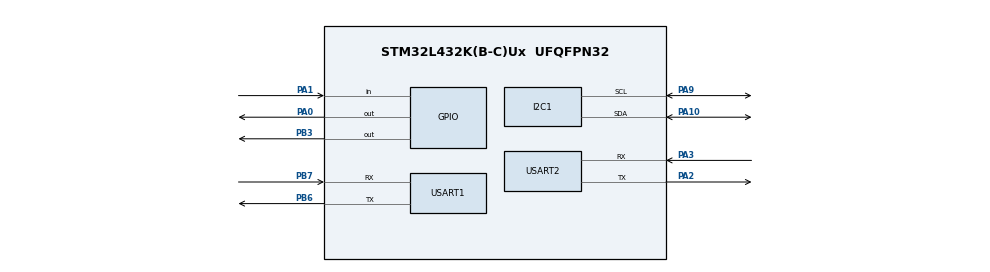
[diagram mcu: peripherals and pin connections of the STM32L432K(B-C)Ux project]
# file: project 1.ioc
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Mcu.Family=STM32L4
Mcu.Name=STM32L432K(B-C)Ux
Mcu.Package=UFQFPN32
NVIC.PriorityGroup=NVIC_PRIORITYGROUP_4
NVIC.USART1_IRQn=true\:0\:0\:false\:false\:true\:true\:true
PA0.Signal=GPIO_Output
PA1.Signal=GPIO_Input
PA10.Mode=I2C
PA10.Signal=I2C1_SDA
PA13\ (JTMS-SWDIO).Mode=Serial_Wire
PA13\ (JTMS-SWDIO).Signal=SYS_JTMS-SWDIO
PA14\ (JTCK-SWCLK).Mode=Serial_Wire
PA14\ (JTCK-SWCLK).Signal=SYS_JTCK-SWCLK
PA2.Mode=Asynchronous
PA2.Signal=USART2_TX
PA3.Mode=Asynchronous
PA3.Signal=USART2_RX
PA9.Mode=I2C
PA9.Signal=I2C1_SCL
PB3\ (JTDO-TRACESWO).Signal=GPIO_Output
PB6.Mode=Asynchronous
PB6.Signal=USART1_TX
PB7.Mode=Asynchronous
PB7.Signal=USART1_RX
ProjectManager.HeapSize=0x200
ProjectManager.StackSize=0x400
ProjectManager.TargetToolchain=MDK-ARM V5.27
RCC.HSE_VALUE=8000000
RCC.HSI48_VALUE=48000000
RCC.HSI_VALUE=16000000
RCC.LSE_VALUE=32768
RCC.MSI_VALUE=4000000
RCC.VCOOutputFreq_Value=32000000
USART1.VirtualMode-Asynchronous=VM_ASYNC
USART2.VirtualMode-Asynchronous=VM_ASYNC
board=custom

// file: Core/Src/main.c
/* USER CODE BEGIN Header */
/**
  ******************************************************************************
  * @file           : main.c
  * @brief          : Main program body
  ******************************************************************************
  * @attention
  *
  * <h2><center>&copy; Copyright (c) 2021 STMicroelectronics.
  * All rights reserved.</center></h2>
  *
  * This software component is licensed by ST under BSD 3-Clause license,
  * the "License"; You may not use this file except in compliance with the
  * License. You may obtain a copy of the License at:
  *                        opensource.org/licenses/BSD-3-Clause
  *
  ******************************************************************************
  */
/* USER CODE END Header */
#include "main.h"

/* USER CODE BEGIN Includes */
#include <stdlib.h>
#include <assert.h>
#include "../../scheduler.h"
/* USER CODE END Includes */

/* USER CODE BEGIN PD */
#define INTERNAL 0
#define DEMO1 1
#define DEMO2 2
#define TASK_SET DEMO1
//#define DEBUG
/* USER CODE END PD */

I2C_HandleTypeDef hi2c1;

UART_HandleTypeDef huart1;
UART_HandleTypeDef huart2;

void SystemClock_Config(void);
static void MX_GPIO_Init(void);
static void MX_USART2_UART_Init(void);
static void MX_I2C1_Init(void);
static void MX_USART1_UART_Init(void);
/* USER CODE BEGIN PFP */
void wrap_around(int *x,int wrap_val);
struct task* get_tail(struct queue *que);
struct task* get_head(struct queue *que);
struct task* que_pop(struct queue *que);
struct task* que_pop_back(struct queue *que);
void swap_task(struct task **a, struct task **b);
void queue_push_back(struct queue *que, struct task *new_task);
uint8_t eq_tasks(struct task *a, struct task *b);
void init_que(struct queue *que);

void QueTask(void (*func_in)(void), uint16_t priority_in);
void ReRunMe(unsigned int delay_in);
void Deque(void);
void init(void);
/* USER CODE END PFP */

/* USER CODE BEGIN 0 */

// TODO propper boudary and error checking when queue overflows

//// Queue variable declarations

struct queue rdy_que, delay_que;
struct task *cur_task;

struct task* get_tail(struct queue *que) {
	int tmp = que->tail - 1;
	wrap_around(&tmp, que->max);
	return que->que[tmp];
}

struct task* get_head(struct queue *que) {
	return que->que[que->head];
}

void wrap_around(int *x, int wrap_val) { // boiler plate to make queue circular
	if (*x < 0) {
		*x = wrap_val - 1;
	} else if (*x == wrap_val) {
		*x = 0;
	}
}

struct task* queue_pop(struct queue *que) { // pop front of queue and return it
	struct task *ret = que->que[que->head++];
	ret->ref_count--;
	wrap_around(&(que->head), que->max);
	que->len--;
	return ret;
}

struct task* que_pop_back(struct queue *que) { // pop back of queueu and return it
	struct task *ret = que->que[que->tail--];
	ret->ref_count--;
	wrap_around(&(que->head), que->max);
	que->len--;
	return ret;
}

void swap_task(struct task **a, struct task **b) {
	struct task *temp = *a;
	*a = *b;
	*b = temp;
}

void queue_push_back(struct queue *que, struct task *new_task) {
	new_task->ref_count++;
	que->que[que->tail] = new_task;
	que->len++;
	//if (que->tail == que->head) return; // Queue overflow. should never reach this state.
	int i, ii;
	for (i = que->tail; i != que->head; --i) {
		wrap_around(&i, que->max);
		ii = i - 1;
		wrap_around(&ii, que->max);
		if (que->que[i]->prio < que->que[ii]->prio) {
			swap_task(&que->que[i], &que->que[ii]);
		} else {
			break;
		}
	}
	que->tail++;
	wrap_around(&que->tail, que->max);
}

void QueTask(void (*func_in)(void), uint16_t priority_in) {
	struct task *new_task = malloc(sizeof(struct task));
	new_task->func = func_in;
	new_task->prio = priority_in;
	new_task->ref_prio = priority_in;
	new_task->ref_count = 0;
	queue_push_back(&rdy_que, new_task);
}

void ReRunMe(unsigned int delay_in) {
	if (delay_in ==  0) {
		cur_task->prio = cur_task->ref_prio;
		queue_push_back(&rdy_que, cur_task);
	} else {
		cur_task->prio = delay_in;
		queue_push_back(&delay_que, cur_task);
	}
}

void Dispatch() {
	if (rdy_que.len > 0) {
		cur_task = queue_pop(&rdy_que);
		cur_task->func();
		if (cur_task->ref_count == 0) {
			free(cur_task);
		}
	}
}

void init_que(struct queue *que) {
	que->head = 0;
	que->tail = 0;
	que->max = MAX_N_TASKS;
	que->len = 0;
}

void init() {
	init_que(&rdy_que);
	init_que(&delay_que);
	HAL_SYSTICK_Config(SystemCoreClock/20);
}

uint8_t eq_tasks(struct task *a, struct task *b) {
	uint8_t ret = 0xFF;
	ret &= a->prio == b->prio;
	ret &= a->ref_prio == b->ref_prio;
	ret &= a->func == b->func;
	ret &= a->ref_count == b->ref_count;
	return ret;
}

//// TASKS FOR INTERNAL TESTING ////

void tgl_led() {
	HAL_GPIO_TogglePin(GPIOB, GPIO_PIN_3);
}

void led_off() {
	HAL_GPIO_WritePin(GPIOB, GPIO_PIN_3, GPIO_PIN_RESET);
}

void taskA() {
	HAL_GPIO_TogglePin(GPIOB, GPIO_PIN_3);
	ReRunMe(10);
}

int taskb_cnt = 0;
void taskB() {
	uint8_t buf[10] = {'0','0','0','0','0','0','0','0','0','0'};
	int temp = taskb_cnt;
	int i;
	for (i = 9; temp > 0 && i >= 0; i--) {
		buf[i] = temp%10+'0';
		temp /= 10;
	}
	HAL_UART_Transmit(&huart2, buf, sizeof(buf), HAL_MAX_DELAY);
	HAL_UART_Transmit(&huart2, (uint8_t*)"\n\r", 3, HAL_MAX_DELAY);
	taskb_cnt++;
	ReRunMe(6);
}

void unit_tests() {

	int unit_int = -1;
	wrap_around(&unit_int, MAX_N_TASKS);
	assert(unit_int == MAX_N_TASKS-1);
	unit_int = MAX_N_TASKS;
	wrap_around(&unit_int, MAX_N_TASKS);
	assert(unit_int == 0);

	struct queue unit_que;
	init_que(&unit_que);
	assert(unit_que.head == 0);
	assert(unit_que.tail == 0);
	assert(unit_que.max == MAX_N_TASKS);
	assert(unit_que.len == 0);

	struct task unit_task;
	unit_task.prio = 1;
	unit_task.ref_prio = 1;
	unit_task.func = tgl_led;
	unit_task.ref_count = 1;

	assert(eq_tasks(&unit_task, &unit_task));

	queue_push_back(&unit_que, &unit_task);
	assert(eq_tasks(&unit_task, get_tail(&unit_que)));
	assert(eq_tasks(&unit_task, get_head(&unit_que)));

	assert(eq_tasks(&unit_task, queue_pop(&unit_que)));

	struct task unit_task2;
	unit_task2 = unit_task;
	unit_task2.ref_prio = 2;
	struct task *swap_task1 = malloc(sizeof(struct task)), *swap_task2 = malloc(sizeof(struct task));
	*swap_task1 = unit_task;
	*swap_task2 = unit_task2;

	swap_task(&swap_task1, &swap_task2);

	assert(eq_tasks(&unit_task, swap_task2));
	assert(eq_tasks(&unit_task2, swap_task1));

	QueTask(tgl_led, 1);
	assert(eq_tasks(&unit_task, get_tail(&rdy_que)));
	assert(eq_tasks(&unit_task, get_head(&rdy_que)));
	QueTask(led_off, 2);
	assert(eq_tasks(&unit_task, get_head(&rdy_que)));
	unit_task.prio = 2;
	unit_task.ref_prio = 2;
	unit_task.func = led_off;
	unit_task.ref_count = 1;
	assert(eq_tasks(&unit_task, get_head(&rdy_que)));
	queue_pop(&rdy_que);
	assert(eq_tasks(&unit_task, queue_pop(&rdy_que)));

}

////////////////////////////////////

//// DEMO 1 (temperature sensor) TASKS ////

// here temperature will be compared by a single number and the 2 fraction bits are the 2 LSB so it would be 8 bits integer then 2 bits fraction in a single integer variable. for example integer of 0b1 and fraction of 0b01 would result in a value of 0b101
uint8_t thresh = 0;
int16_t cur_temp = 0;
void read_temp() {
	uint8_t buf[7] = {0,0,'.',0,0,'\n','\r'};
	uint8_t tmp;
	HAL_I2C_Master_Transmit(&hi2c1, 0xD0, (uint8_t[]){0x0E, 0x3C}, 2, 10); // refresh temperature
	HAL_I2C_Master_Transmit(&hi2c1, 0xD0, (uint8_t[]){0x11}, 1, 10); // request current temperature
	HAL_I2C_Master_Receive(&hi2c1, 0xD1, &tmp, 1, 10); // read current temperature
	cur_temp = tmp << 2;
	HAL_I2C_Master_Transmit(&hi2c1, 0xD0, (uint8_t[]){0x12}, 1, 10); // request current temperature fraction
	HAL_I2C_Master_Receive(&hi2c1, 0xD1, &tmp, 1, 10); // read current temperature fraction
	cur_temp |= tmp >> 6;

	#ifdef DEBUG // Print read temperature
	tmp = cur_temp;
	int16_t debug;
	debug = tmp >> 2;
	buf[0] = debug/10 + '0';
	buf[1] = debug%10 + '0';
	debug = tmp & 0x3;
	buf[3] = (debug*25)/10 + '0';
	buf[4] = (debug*25)%10 + '0';
	HAL_UART_Transmit(&huart2, buf, sizeof(buf), HAL_MAX_DELAY);
	#endif

	ReRunMe(600);
}

void trig_alarm() {
	if (cur_temp > thresh) {
		HAL_GPIO_TogglePin(GPIOB, GPIO_PIN_3);
	} else {
		HAL_GPIO_WritePin(GPIOB, GPIO_PIN_3, GPIO_PIN_RESET);
	}
	ReRunMe(5);
}

uint8_t temp_buf [8];
int temp_loc = 0;
void set_temp_thresh() {
	HAL_UART_Receive(&huart1, temp_buf+temp_loc, 1, 10); // process newest character
	HAL_UART_Transmit(&huart1, temp_buf+temp_loc, 1, 10); // send it back so that there is feedback on the serial terminal
	__HAL_UART_ENABLE_IT(&huart1, UART_IT_RXNE); // enable interrupts again so we can process the next character
	if (temp_buf[temp_loc] == 0x0D) {
		__HAL_UART_DISABLE_IT(&huart1, UART_IT_RXNE); // disable interrupt so UART functions are not broken from an interrupt
		HAL_UART_Transmit(&huart1, (uint8_t*)"\n\r", 3, 10); // print new line so its more legible
		__HAL_UART_ENABLE_IT(&huart1, UART_IT_RXNE); // enable interrupts again
		int tmp = 0;
		int sig = 1;
		temp_loc--;
		while (temp_buf[temp_loc] != '.') { // read fraction
			tmp += sig * (temp_buf[temp_loc--] - '0');
			sig *= 10;
		}
		thresh = tmp/25; // reduce fraction to the percision of the temperature sensor
		tmp = 0;
		sig = 1;
		temp_loc--; // skip decimal point
		while (temp_loc >= 0) { // read integer
			tmp += sig * (temp_buf[temp_loc--] - '0');
			sig *= 10;
		}
		thresh |= tmp << 2; // shift to left to leave the 2 fraction bits undisturbed
		temp_loc = 0;
	} else {
		temp_loc++;
	}
}

///////////////////////////////////////////////////////////

//// DEMO 2 (distance) TASKS ////

int dist = 0;
void read_dist() {
	HAL_GPIO_WritePin(GPIOA, GPIO_PIN_0, GPIO_PIN_SET);
	HAL_Delay(10);
	HAL_GPIO_WritePin(GPIOA, GPIO_PIN_0, GPIO_PIN_RESET);
	int time = 0;
	while (HAL_GPIO_ReadPin(GPIOA, GPIO_PIN_1) == GPIO_PIN_RESET) {}
	while (HAL_GPIO_ReadPin(GPIOA, GPIO_PIN_1) == GPIO_PIN_SET) { time++; }
	dist = time/100 * SystemCoreClock/4000000;

	#ifdef DEBUG
	char buf[10] = {0,0,0,0,0,0,0,0,0,0};
	int i;
	for (i = 9; time > 0 && i > 0; i--) {
		buf[i] = time%10 + '0';
		time /= 10;
	}
	HAL_UART_Transmit(&huart2, (uint8_t*)buf, 10, HAL_MAX_DELAY);
	HAL_UART_Transmit(&huart2, "\n\r", 3, HAL_MAX_DELAY);
	#endif

	ReRunMe(5);
}

void beep() {
	HAL_GPIO_WritePin(GPIOB, GPIO_PIN_3, GPIO_PIN_SET);
	HAL_Delay(1);
	HAL_GPIO_WritePin(GPIOB, GPIO_PIN_3, GPIO_PIN_RESET);
	if (dist <= 0) {
		dist = 1;
	} else if (dist >= 20) {
		dist = 20;
	}
	ReRunMe(dist);
}

///////////////////////////////////////////////////////////

/* USER CODE END 0 */

int main(void)
{

  /* MCU Configuration--------------------------------------------------------*/

  /* Reset of all peripherals, Initializes the Flash interface and the Systick. */
  HAL_Init();

  /* Configure the system clock */
  SystemClock_Config();

  /* Initialize all configured peripherals */
  MX_GPIO_Init();
  MX_USART2_UART_Init();
  MX_I2C1_Init();
  MX_USART1_UART_Init();
  /* USER CODE BEGIN 2 */
	init();
  /* USER CODE END 2 */

  /* Infinite loop */
  /* USER CODE BEGIN WHILE */
	#ifdef DEBUG
	HAL_UART_Transmit(&huart2, (uint8_t*)"Unit tests start\n\r", 19, HAL_MAX_DELAY);
	unit_tests();
	HAL_UART_Transmit(&huart2, (uint8_t*)"Unit tests complete\n\r", 22, HAL_MAX_DELAY);
	#endif

	#if TASK_SET == INTERNAL
	QueTask(taskA, 1);
	QueTask(taskB, 4);
	#elif TASK_SET == DEMO1
	__HAL_UART_ENABLE_IT(&huart1, UART_IT_RXNE);
	QueTask(read_temp, 2);
	QueTask(trig_alarm, 3);
	#elif TASK_SET == DEMO2
	QueTask(read_dist, 1);
	QueTask(beep, 2);
	#endif

  while (1)
  {
		Dispatch();
    /* USER CODE END WHILE */

  }
}

void SystemClock_Config(void)
{
  RCC_OscInitTypeDef RCC_OscInitStruct = {0};
  RCC_ClkInitTypeDef RCC_ClkInitStruct = {0};
  RCC_PeriphCLKInitTypeDef PeriphClkInit = {0};

  /** Initializes the RCC Oscillators according to the specified parameters
  * in the RCC_OscInitTypeDef structure.
  */
  RCC_OscInitStruct.OscillatorType = RCC_OSCILLATORTYPE_MSI;
  RCC_OscInitStruct.MSIState = RCC_MSI_ON;
  RCC_OscInitStruct.MSICalibrationValue = 0;
  RCC_OscInitStruct.MSIClockRange = RCC_MSIRANGE_6;
  RCC_OscInitStruct.PLL.PLLState = RCC_PLL_NONE;
  if (HAL_RCC_OscConfig(&RCC_OscInitStruct) != HAL_OK)
  {
    Error_Handler();
  }
  /** Initializes the CPU, AHB and APB buses clocks
  */
  RCC_ClkInitStruct.ClockType = RCC_CLOCKTYPE_HCLK|RCC_CLOCKTYPE_SYSCLK
                              |RCC_CLOCKTYPE_PCLK1|RCC_CLOCKTYPE_PCLK2;
  RCC_ClkInitStruct.SYSCLKSource = RCC_SYSCLKSOURCE_MSI;
  RCC_ClkInitStruct.AHBCLKDivider = RCC_SYSCLK_DIV1;
  RCC_ClkInitStruct.APB1CLKDivider = RCC_HCLK_DIV1;
  RCC_ClkInitStruct.APB2CLKDivider = RCC_HCLK_DIV1;

  if (HAL_RCC_ClockConfig(&RCC_ClkInitStruct, FLASH_LATENCY_0) != HAL_OK)
  {
    Error_Handler();
  }
  PeriphClkInit.PeriphClockSelection = RCC_PERIPHCLK_USART1|RCC_PERIPHCLK_USART2
                              |RCC_PERIPHCLK_I2C1;
  PeriphClkInit.Usart1ClockSelection = RCC_USART1CLKSOURCE_PCLK2;
  PeriphClkInit.Usart2ClockSelection = RCC_USART2CLKSOURCE_PCLK1;
  PeriphClkInit.I2c1ClockSelection = RCC_I2C1CLKSOURCE_PCLK1;
  if (HAL_RCCEx_PeriphCLKConfig(&PeriphClkInit) != HAL_OK)
  {
    Error_Handler();
  }
  /** Configure the main internal regulator output voltage
  */
  if (HAL_PWREx_ControlVoltageScaling(PWR_REGULATOR_VOLTAGE_SCALE1) != HAL_OK)
  {
    Error_Handler();
  }
}

static void MX_I2C1_Init(void)
{

  hi2c1.Instance = I2C1;
  hi2c1.Init.Timing = 0x00000E14;
  hi2c1.Init.OwnAddress1 = 0;
  hi2c1.Init.AddressingMode = I2C_ADDRESSINGMODE_7BIT;
  hi2c1.Init.DualAddressMode = I2C_DUALADDRESS_DISABLE;
  hi2c1.Init.OwnAddress2 = 0;
  hi2c1.Init.OwnAddress2Masks = I2C_OA2_NOMASK;
  hi2c1.Init.GeneralCallMode = I2C_GENERALCALL_DISABLE;
  hi2c1.Init.NoStretchMode = I2C_NOSTRETCH_DISABLE;
  if (HAL_I2C_Init(&hi2c1) != HAL_OK)
  {
    Error_Handler();
  }
  /** Configure Analogue filter
  */
  if (HAL_I2CEx_ConfigAnalogFilter(&hi2c1, I2C_ANALOGFILTER_ENABLE) != HAL_OK)
  {
    Error_Handler();
  }
  /** Configure Digital filter
  */
  if (HAL_I2CEx_ConfigDigitalFilter(&hi2c1, 0) != HAL_OK)
  {
    Error_Handler();
  }

}

static void MX_USART1_UART_Init(void)
{

  huart1.Instance = USART1;
  huart1.Init.BaudRate = 115200;
  huart1.Init.WordLength = UART_WORDLENGTH_8B;
  huart1.Init.StopBits = UART_STOPBITS_1;
  huart1.Init.Parity = UART_PARITY_NONE;
  huart1.Init.Mode = UART_MODE_TX_RX;
  huart1.Init.HwFlowCtl = UART_HWCONTROL_NONE;
  huart1.Init.OverSampling = UART_OVERSAMPLING_16;
  huart1.Init.OneBitSampling = UART_ONE_BIT_SAMPLE_DISABLE;
  huart1.AdvancedInit.AdvFeatureInit = UART_ADVFEATURE_NO_INIT;
  if (HAL_UART_Init(&huart1) != HAL_OK)
  {
    Error_Handler();
  }

}

static void MX_USART2_UART_Init(void)
{

  huart2.Instance = USART2;
  huart2.Init.BaudRate = 115200;
  huart2.Init.WordLength = UART_WORDLENGTH_8B;
  huart2.Init.StopBits = UART_STOPBITS_1;
  huart2.Init.Parity = UART_PARITY_NONE;
  huart2.Init.Mode = UART_MODE_TX_RX;
  huart2.Init.HwFlowCtl = UART_HWCONTROL_NONE;
  huart2.Init.OverSampling = UART_OVERSAMPLING_16;
  huart2.Init.OneBitSampling = UART_ONE_BIT_SAMPLE_DISABLE;
  huart2.AdvancedInit.AdvFeatureInit = UART_ADVFEATURE_NO_INIT;
  if (HAL_UART_Init(&huart2) != HAL_OK)
  {
    Error_Handler();
  }

}

static void MX_GPIO_Init(void)
{
  GPIO_InitTypeDef GPIO_InitStruct = {0};

  /* GPIO Ports Clock Enable */
  __HAL_RCC_GPIOA_CLK_ENABLE();
  __HAL_RCC_GPIOB_CLK_ENABLE();

  /*Configure GPIO pin Output Level */
  HAL_GPIO_WritePin(GPIOA, GPIO_PIN_0, GPIO_PIN_RESET);

  /*Configure GPIO pin Output Level */
  HAL_GPIO_WritePin(GPIOB, GPIO_PIN_3, GPIO_PIN_RESET);

  /*Configure GPIO pin : PA0 */
  GPIO_InitStruct.Pin = GPIO_PIN_0;
  GPIO_InitStruct.Mode = GPIO_MODE_OUTPUT_PP;
  GPIO_InitStruct.Pull = GPIO_NOPULL;
  GPIO_InitStruct.Speed = GPIO_SPEED_FREQ_LOW;
  HAL_GPIO_Init(GPIOA, &GPIO_InitStruct);

  /*Configure GPIO pin : PA1 */
  GPIO_InitStruct.Pin = GPIO_PIN_1;
  GPIO_InitStruct.Mode = GPIO_MODE_INPUT;
  GPIO_InitStruct.Pull = GPIO_NOPULL;
  HAL_GPIO_Init(GPIOA, &GPIO_InitStruct);

  /*Configure GPIO pin : PB3 */
  GPIO_InitStruct.Pin = GPIO_PIN_3;
  GPIO_InitStruct.Mode = GPIO_MODE_OUTPUT_PP;
  GPIO_InitStruct.Pull = GPIO_NOPULL;
  GPIO_InitStruct.Speed = GPIO_SPEED_FREQ_LOW;
  HAL_GPIO_Init(GPIOB, &GPIO_InitStruct);

}

void Error_Handler(void)
{
  __disable_irq();
  while (1)
  {
  }
}

/************************ (C) COPYRIGHT STMicroelectronics *****END OF FILE****/
